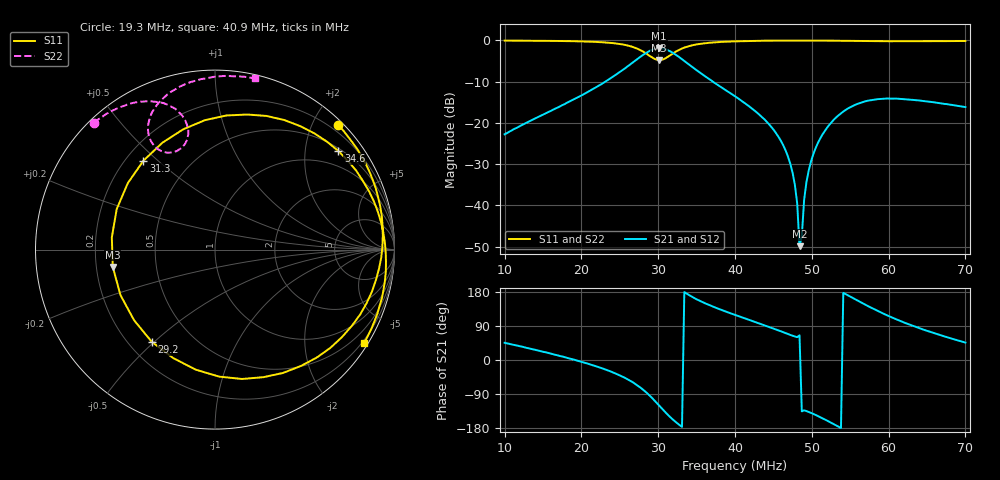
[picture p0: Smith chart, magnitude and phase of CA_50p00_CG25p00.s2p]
#  HZ  S  RI  R  50.00
! Rohde & Schwarz ZVT8 8Ports - Version 4.11 - 1300.0000k08 SN: 100242
! Date: 2026-07-31 15:16:23
! Measurements: S11 S21 S12 S22
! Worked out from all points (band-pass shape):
!   201 points, 10 MHz to 70 MHz, reference 50 ohm
!   highest |S21| = -1.91 dB at 30.1 MHz (marker M1); lowest = -49.9 dB at 48.4 MHz (marker M2)
!   |S21| within 3 dB of the highest: 27 MHz to 33.36 MHz (6.358 MHz wide, 21.1 % of centre)
!   lowest |S11| = -4.8 dB at 30.1 MHz (marker M3), VSWR 3.73, Z = 13.5 - j3.89 ohm
!   |S11| at or under -10 dB: nowhere
!   |S22| runs from -4.6 to 0.0 dB; largest |S21 - S12| = 0.0028
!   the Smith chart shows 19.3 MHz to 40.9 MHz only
!   S11 on the Smith chart (normalised r, x): 19.3 MHz: 0.08, +2.39; 29.2 MHz: 0.29, -0.49; 31.3 MHz: 0.27, +0.45; 34.6 MHz: 0.57, +2.75; 40.9 MHz: 0.13, -3.48
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1e7  -0.403 0.9111  0.0511 0.0519  0.0509 0.0518  -0.9199 0.3817
1.93e7  0.686 0.6948  0.1992 -0.00291  0.1995 -0.00209  -0.6741 0.7068
2.02e7  0.7685 0.5935  0.2196 -0.0224  0.2189 -0.0223  -0.6381 0.732
2.56e7  0.8082 -0.3625  0.3127 -0.3282  0.3137 -0.329  -0.3299 0.8233
2.77e7  0.2705 -0.7107  0.1854 -0.6079  0.1842 -0.6085  -0.1827 0.7461
2.92e7  -0.3523 -0.5138  -0.1355 -0.7568  -0.1373 -0.7554  -0.1554 0.6132
3.01e7  -0.5694 -0.0961  -0.3983 -0.6971  -0.3984 -0.6978  -0.2128 0.5487
3.13e7  -0.3993 0.4948  -0.6246 -0.4282  -0.6233 -0.4289  -0.3211 0.5611
3.28e7  0.1794 0.7526  -0.6153 -0.0869  -0.6146 -0.0847  -0.374 0.6849
3.46e7  0.6868 0.5497  -0.4474 0.1234  -0.4478 0.1224  -0.305 0.8281
4e7  0.8886 -0.3993  -0.1021 0.1838  -0.1018 0.1839  0.1368 0.965
4.09e7  0.8311 -0.5198  -0.0708 0.17  -0.0705 0.17  0.2213 0.954
4.66e7  0.243 -0.9678  0.0153 0.0436  0.0151 0.0437  0.8002 0.5875
4.78e7  0.0982 -0.9929  0.00831 0.0156  0.00827 0.0156  0.9004 0.4203
4.84e7  0.0245 -0.9979  0.00135 0.00291  0.00142 0.00286  0.9419 0.3207
4.93e7  -0.0859 -0.9947  -0.0135 -0.0136  -0.0135 -0.0137  0.9824 0.1541
5.02e7  -0.1915 -0.979  -0.0331 -0.0257  -0.0332 -0.0258  0.993 -0.0319
5.26e7  -0.4557 -0.8802  -0.0997 -0.0241  -0.0999 -0.0242  0.8124 -0.5641
5.53e7  -0.6965 -0.696  -0.1539 0.0441  -0.1537 0.0443  0.2268 -0.9541
6.01e7  -0.9451 -0.2447  -0.0843 0.1784  -0.0842 0.1781  -0.787 -0.5744
6.4e7  -0.9624 0.1733  0.0192 0.1862  0.0195 0.1856  -0.977 0.0292
7e7  -0.6496 0.7397  0.1081 0.1119  0.1083 0.1117  -0.7595 0.6258
